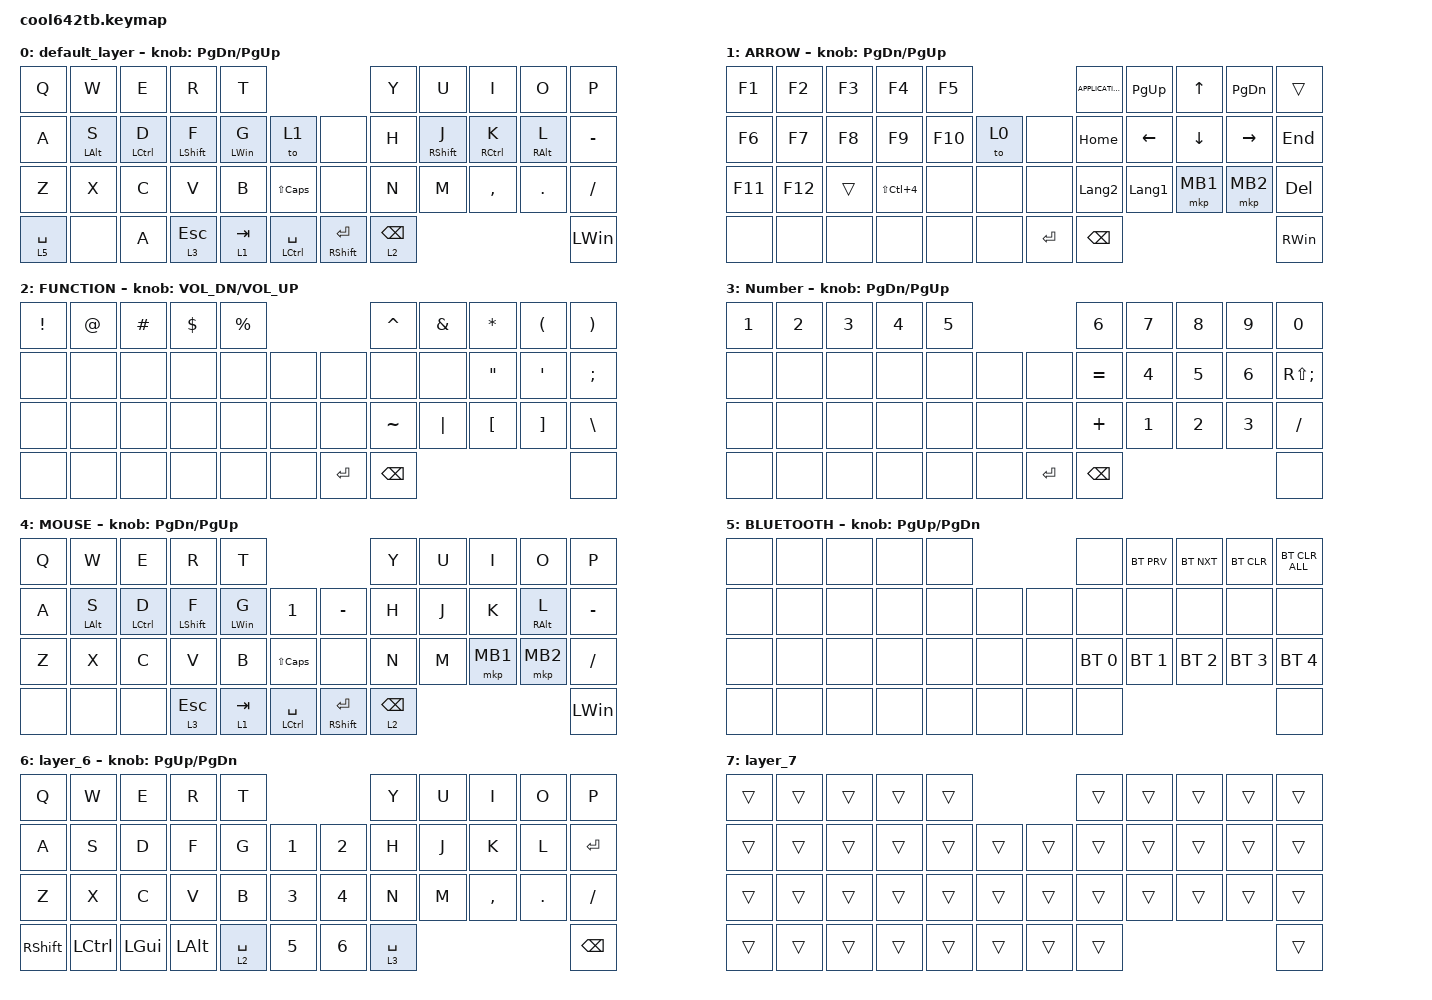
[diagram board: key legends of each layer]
#include <behaviors.dtsi>
#include <dt-bindings/zmk/bt.h>
#include <dt-bindings/zmk/keys.h>
#include <dt-bindings/zmk/pointing.h>

#define MOUSE 4
#define SCROLL 5
#define NUM 6

&mt {
    flavor = "balanced";
    quick-tap-ms = <0>;
};

/ {
    combos {
        compatible = "zmk,combos";

        comb4 {
            bindings = <&kp DOUBLE_QUOTES>;
            key-positions = <20 21>;
        };

        comb5 {
            bindings = <&kp EQUAL>;
            key-positions = <24 25>;
        };
    };

    macros {
        to_layer_0: to_layer_0 {
            compatible = "zmk,behavior-macro-one-param";
            #binding-cells = <1>;
            bindings = <&to 0 &macro_param_1to1 &kp MACRO_PLACEHOLDER>;
            label = "TO_LAYER_0";
        };
    };

    behaviors {
        lt_to_layer_0: lt_to_layer_0 {
            compatible = "zmk,behavior-hold-tap";
            label = "LAYER_TAP_TO_0";
            bindings = <&mo>, <&to_layer_0>;

            #binding-cells = <2>;
            tapping-term-ms = <200>;
        };
    };

    keymap {
        compatible = "zmk,keymap";

        default_layer {
            bindings = <
&kp Q        &kp W           &kp E        &kp R             &kp T                                                    &kp Y            &kp U              &kp I        &kp O            &kp P
&kp A        &mt LEFT_ALT S  &mt LCTRL D  &mt LEFT_SHIFT F  &mt LEFT_WIN G  &to 1             &none                  &kp H            &mt RIGHT_SHIFT J  &mt RCTRL K  &mt RIGHT_ALT L  &kp MINUS
&kp Z        &kp X           &kp C        &kp V             &kp B           &kp LS(CAPSLOCK)  &none                  &kp N            &kp M              &kp COMMA    &kp PERIOD       &kp SLASH
&lt 5 SPACE  &none           &kp A        &lt 3 ESCAPE      &lt 1 TAB       &mt LCTRL SPACE   &mt RIGHT_SHIFT ENTER  &lt 2 BACKSPACE                                                   &kp LEFT_WIN
            >;

            sensor-bindings = <&inc_dec_kp PAGE_DOWN PAGE_UP>;
        };

        ARROW {
            bindings = <
&kp F1   &kp F2   &kp F3  &kp F4          &kp F5                     &kp K_APPLICATION  &kp PAGE_UP     &kp UP    &kp PAGE_DOWN  &trans
&kp F6   &kp F7   &kp F8  &kp F9          &kp F10  &to 0  &none      &kp HOME           &kp LEFT        &kp DOWN  &kp RIGHT      &kp END
&kp F11  &kp F12  &trans  &kp LS(LC(N4))  &none    &none  &none      &kp LANGUAGE_2     &kp LANGUAGE_1  &mkp MB1  &mkp MB2       &kp DELETE
&none    &none    &none   &none           &none    &none  &kp ENTER  &kp BACKSPACE                                               &kp RIGHT_WIN
            >;

            sensor-bindings = <&inc_dec_kp PAGE_DOWN PAGE_UP>;
        };

        FUNCTION {
            bindings = <
&kp EXCLAMATION  &kp AT_SIGN  &kp HASH  &kp DOLLAR  &kp PERCENT                    &kp CARET      &kp AMPERSAND  &kp ASTRK          &kp LEFT_PARENTHESIS  &kp RIGHT_PARENTHESIS
&none            &none        &none     &none       &none        &none  &none      &none          &none          &kp DOUBLE_QUOTES  &kp APOSTROPHE        &kp SEMICOLON
&none            &none        &none     &none       &none        &none  &none      &kp TILDE      &kp PIPE       &kp LEFT_BRACKET   &kp RIGHT_BRACKET     &kp BACKSLASH
&none            &none        &none     &none       &none        &none  &kp ENTER  &kp BACKSPACE                                                          &none
            >;

            sensor-bindings = <&inc_dec_kp C_VOL_DN C_VOL_UP>;
        };

        Number {
            bindings = <
&kp NUMBER_1  &kp NUMBER_2  &kp NUMBER_3  &kp NUMBER_4  &kp N5                    &kp NUMBER_6   &kp N7        &kp N8        &kp N9        &kp N0
&none         &none         &none         &none         &none   &none  &none      &kp EQUAL      &kp NUMBER_4  &kp N5        &kp NUMBER_6  &kp RS(SEMICOLON)
&none         &none         &none         &none         &none   &none  &none      &kp PLUS       &kp NUMBER_1  &kp NUMBER_2  &kp NUMBER_3  &kp SLASH
&none         &none         &none         &none         &none   &none  &kp ENTER  &kp BACKSPACE                                            &none
            >;

            sensor-bindings = <&inc_dec_kp PAGE_DOWN PAGE_UP>;
        };

        MOUSE {
            bindings = <
&kp Q  &kp W           &kp E        &kp R             &kp T                                                    &kp Y            &kp U  &kp I     &kp O            &kp P
&kp A  &mt LEFT_ALT S  &mt LCTRL D  &mt LEFT_SHIFT F  &mt LEFT_WIN G  &kp N1            &kp MINUS              &kp H            &kp J  &kp K     &mt RIGHT_ALT L  &kp MINUS
&kp Z  &kp X           &kp C        &kp V             &kp B           &kp LS(CAPSLOCK)  &none                  &kp N            &kp M  &mkp MB1  &mkp MB2         &kp SLASH
&none  &none           &none        &lt 3 ESCAPE      &lt 1 TAB       &mt LCTRL SPACE   &mt RIGHT_SHIFT ENTER  &lt 2 BACKSPACE                                    &kp LEFT_WIN
            >;

            sensor-bindings = <&inc_dec_kp PAGE_DOWN PAGE_UP>;
        };

        BLUETOOTH {
            bindings = <
&none  &none  &none  &none  &none                &none         &bt BT_PRV    &bt BT_NXT    &bt BT_CLR    &bt BT_CLR_ALL
&none  &none  &none  &none  &none  &none  &none  &none         &none         &none         &none         &none
&none  &none  &none  &none  &none  &none  &none  &bt BT_SEL 0  &bt BT_SEL 1  &bt BT_SEL 2  &bt BT_SEL 3  &bt BT_SEL 4
&none  &none  &none  &none  &none  &none  &none  &none                                                   &none
            >;

            sensor-bindings = <&inc_dec_kp PG_UP PAGE_DOWN>;
        };

        layer_6 {
            bindings = <
&kp Q       &kp W      &kp E     &kp R     &kp T                        &kp Y        &kp U  &kp I      &kp O       &kp P
&kp A       &kp S      &kp D     &kp F     &kp G        &kp N1  &kp N2  &kp H        &kp J  &kp K      &kp L       &kp ENTER
&kp Z       &kp X      &kp C     &kp V     &kp B        &kp N3  &kp N4  &kp N        &kp M  &kp COMMA  &kp PERIOD  &kp SLASH
&kp RSHIFT  &kp LCTRL  &kp LGUI  &kp LALT  &lt 2 SPACE  &kp N5  &kp N6  &lt 3 SPACE                                &kp BSPC
            >;

            sensor-bindings = <&inc_dec_kp PG_UP PAGE_DOWN>;
        };

        layer_7 {
            bindings = <
&trans  &trans  &trans  &trans  &trans                  &trans  &trans  &trans  &trans  &trans
&trans  &trans  &trans  &trans  &trans  &trans  &trans  &trans  &trans  &trans  &trans  &trans
&trans  &trans  &trans  &trans  &trans  &trans  &trans  &trans  &trans  &trans  &trans  &trans
&trans  &trans  &trans  &trans  &trans  &trans  &trans  &trans                          &trans
            >;
        };
    };
};
